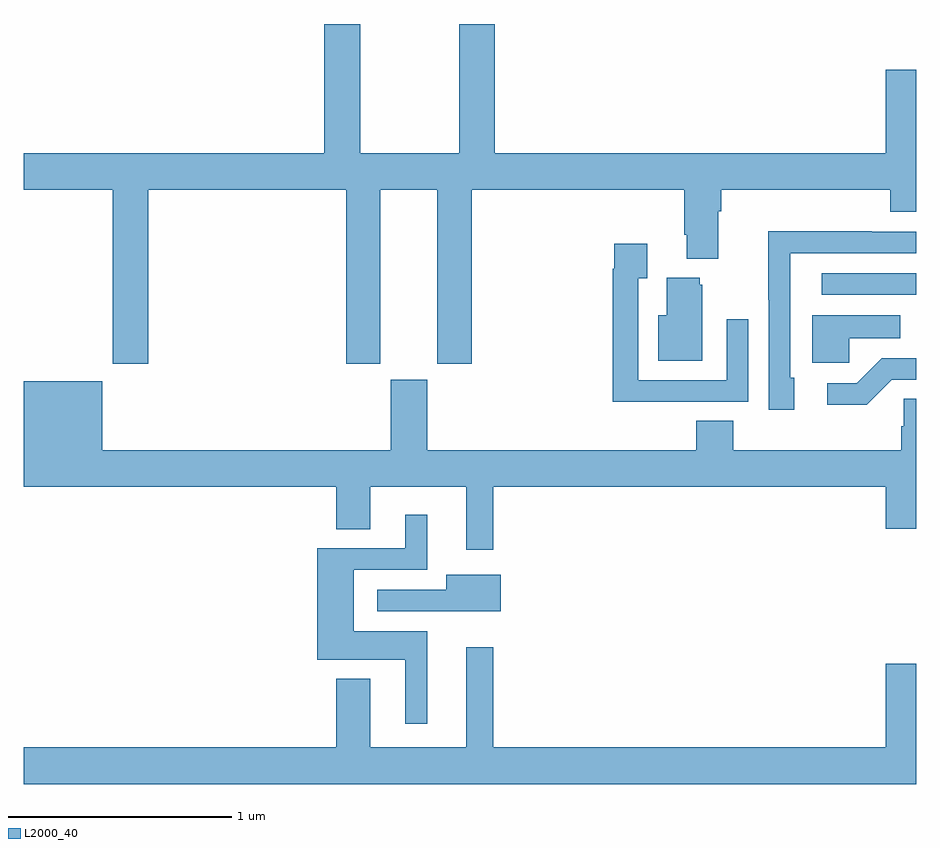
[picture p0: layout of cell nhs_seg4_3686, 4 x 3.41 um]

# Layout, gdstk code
import gdstk
lib = gdstk.Library(unit=1e-6, precision=1e-09)
def R(c, l, rs):  # rectangles x0, y0, x1, y1
    for r in rs: c.add(gdstk.rectangle(r[:2], r[2:], *l))
def P(c, l, *ps):  # polygons
    for p in ps: c.add(gdstk.Polygon(p, *l))
L2000_40 = (2000, 40)

nhs_seg4_3686 = lib.new_cell('nhs_seg4_3686')
R(nhs_seg4_3686, L2000_40, [(308.577,793.686,309,793.782)])
P(nhs_seg4_3686, L2000_40, [(305.558,794.156),(306.446,794.156),(306.446,793.377),(306.598,793.377),(306.598,794.156),(306.854,794.156),(306.854,793.377),(307.007,793.377),(307.007,794.156),(307.961,794.156),(307.961,793.954),(307.973,793.954),(307.973,793.847),(308.113,793.847),(308.113,794.06),(308.126,794.06),(308.126,794.156),(308.885,794.156),(308.885,794.057),(309,794.057),(309,794.695),(308.864,794.695),(308.864,794.32),(307.112,794.32),(307.112,794.9),(306.952,794.9),(306.952,794.32),(306.507,794.32),(306.507,794.9),(306.347,794.9),(306.347,794.32),(305,794.32),(305,794.156),(305.398,794.156),(305.398,793.377),(305.558,793.377)],
  [(308.455,793.314),(308.436,793.314),(308.436,793.642),(308.437,793.642),(308.437,793.872),(309,793.872),(309,793.968),(308.801,793.968),(308.801,793.97),(308.338,793.97),(308.338,793.663),(308.34,793.663),(308.34,793.17),(308.455,793.17)],
  [(307.931,793.206),(308.247,793.206),(308.247,793.576),(308.151,793.576),(308.151,793.302),(307.755,793.302),(307.755,793.759),(307.795,793.759),(307.795,793.915),(307.647,793.915),(307.647,793.802),(307.639,793.802),(307.639,793.205),(307.931,793.205)],
  [(308.041,793.731),(308.03,793.731),(308.03,793.762),(307.883,793.762),(307.883,793.594),(307.844,793.594),(307.844,793.391),(308.041,793.391)],
  [(308.7,793.49),(308.93,793.49),(308.93,793.594),(308.534,793.594),(308.534,793.382),(308.7,793.382)],
  [(308.892,793.305),(309,793.305),(309,793.401),(308.846,793.401),(308.735,793.29),(308.601,793.29),(308.601,793.193),(308.779,793.193)],
  [(307.105,792.824),(308.864,792.824),(308.864,792.636),(309,792.636),(309,793.22),(308.946,793.22),(308.946,793.097),(308.933,793.097),(308.933,792.988),(308.18,792.988),(308.18,793.121),(308.015,793.121),(308.015,792.988),(306.808,792.988),(306.808,793.305),(306.644,793.305),(306.644,792.988),(305.35,792.988),(305.35,793.297),(305,793.297),(305,792.824),(306.401,792.824),(306.401,792.634),(306.553,792.634),(306.553,792.824),(306.983,792.824),(306.983,792.543),(307.105,792.543)],
  [(306.808,792.178),(306.478,792.178),(306.478,792.453),(306.808,792.453),(306.808,792.7),(306.71,792.7),(306.71,792.549),(306.314,792.549),(306.314,792.05),(306.71,792.05),(306.71,791.763),(306.808,791.763)],
  [(307.138,792.43),(306.893,792.43),(306.893,792.363),(306.585,792.363),(306.585,792.267),(306.897,792.267),(306.897,792.266),(307.138,792.266)],
  [(309,792.031),(308.864,792.031),(308.864,791.656),(307.105,791.656),(307.105,792.106),(306.983,792.106),(306.983,791.656),(306.553,791.656),(306.553,791.965),(306.401,791.965),(306.401,791.656),(305,791.656),(305,791.492),(309,791.492)])

lib.write_gds('nhs_seg4_3686.gds')
